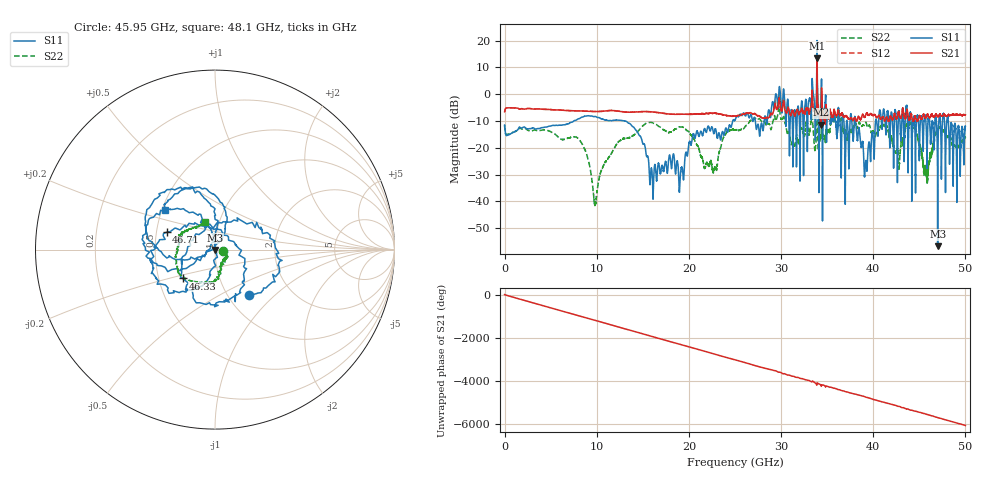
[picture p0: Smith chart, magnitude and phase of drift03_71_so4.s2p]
!Created with skrf (http://scikit-rf.org).
# Hz S RI R 50.0
!freq ReS11 ImS11 ReS21 ImS21 ReS12 ImS12 ReS22 ImS22
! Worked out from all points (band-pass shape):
!   10001 points, 300 kHz to 50 GHz, reference 50 ohm
!   highest |S21| = 13.45 dB at 33.9 GHz (marker M1); lowest = -11.4 dB at 34.32 GHz (marker M2)
!   |S21| within 3 dB of the highest: 33.88984 GHz to 33.90494 GHz (15.1 MHz wide, 0.0446 % of centre)
!   lowest |S11| = -56.7 dB at 46.99 GHz (marker M3), VSWR 1.00, Z = 50 - j0.146 ohm
!   |S11| at or under -10 dB: start of sweep to 7.487 GHz; 13.13 GHz to 24.74 GHz (11.61 GHz wide, 61.3 % of centre); 38.09 GHz to 40.25 GHz (2.16 GHz wide, 5.51 % of centre) (the widest 3 of 51)
!   |S22| runs from -41.6 to 5.9 dB; largest |S21 - S12| = 0.34
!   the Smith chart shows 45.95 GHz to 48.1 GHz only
!   S11 on the Smith chart (normalised r, x): 45.95 GHz: 1.24, -0.70; 46.33 GHz: 0.66, -0.23; 46.71 GHz: 0.57, +0.12; 48.1 GHz: 0.52, +0.26
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300000  -0.2352 -0.1256  0.4653 0.0808  0.4655 0.0818  -0.2347 -0.1291
1.440291e9  0.2101 0.0648  -0.5479 -0.0296  -0.5482 -0.0293  0.2115 -0.00395
2.915283e9  -0.2122 -0.088  0.534 0.0514  0.5346 0.0516  -0.2018 0.0402
4.415274e9  0.2059 0.1324  -0.5216 -0.0423  -0.5219 -0.0422  0.1987 -0.0872
8.33525e9  0.2887 -0.2337  0.1459 0.466  0.1464 0.4661  -0.0726 -0.1016
9.840241e9  -0.3651 0.1252  -0.1434 -0.454  -0.1432 -0.4539  0.00852 0.00206
1.66702e10  0.0273 0.0431  -0.3785 0.2531  -0.3782 0.2536  -0.1288 -0.22
2.500015e10  -0.3272 -0.0152  -0.2562 -0.2966  -0.2539 -0.2982  -0.2127 0.0287
2.895013e10  -0.3216 0.4219  -0.2919 0.3244  -0.3034 0.2884  0.0642 0.2222
3.006512e10  0.399 0.2655  0.45 -0.1978  0.4541 -0.1842  0.1767 -0.2972
3.171011e10  -0.0932 0.1897  -0.36 0.3585  -0.3609 0.3556  0.0668 0.1591
3.33351e10  0.6389 -0.7736  0.272 -0.8336  0.2688 -0.821  -0.1838 -0.428
3.38951e10  -2.61 -9.754  -4.626 0.8641  -4.343 1.056  0.5358 1.906
3.432009e10  -0.7774 -0.00133  -0.1804 0.1999  -0.2427 0.1792  0.1413 -0.0751
3.918006e10  0.053 0.0152  0.2088 -0.3476  0.2189 -0.3409  -0.2681 -0.1329
4.167005e10  -0.2073 0.2998  0.3158 0.000905  0.3138 0.00749  -0.1871 -0.0156
4.594502e10  0.1882 -0.2535  -0.3524 -0.2021  -0.356 -0.2048  0.042 -0.00792
4.632502e10  -0.1794 -0.1608  -0.3898 0.1577  -0.3909 0.1536  0.0612 -0.0509
4.670502e10  -0.2695 0.0971  -0.1198 0.3818  -0.1215 0.3799  -0.0087 -0.1833
4.699002e10  -0.000123 -0.00146  0.0996 0.373  0.0959 0.3727  -0.1347 -0.1752
4.810001e10  -0.2799 0.2185  0.2042 -0.3496  0.2052 -0.3561  -0.0567 0.1512
5e10  -0.1184 -0.2237  0.1417 0.3861  0.1435 0.3827  -0.0533 -0.1431
